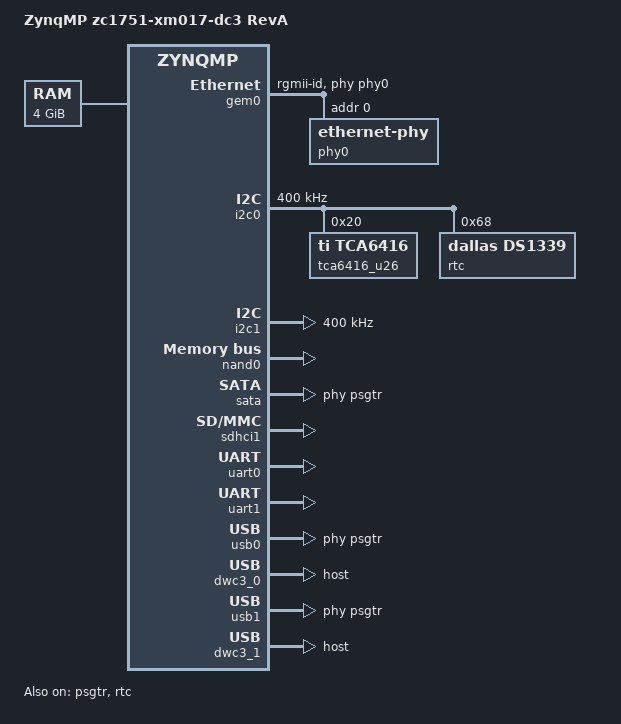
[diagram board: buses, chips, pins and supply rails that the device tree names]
// SPDX-License-Identifier: GPL-2.0+
/*
 * dts file for Xilinx ZynqMP zc1751-xm017-dc3
 *
 * (C) Copyright 2016 - 2021, Xilinx, Inc.
 *
 * Michal Simek <michal.simek@xilinx.com>
 */

/dts-v1/;

#include "zynqmp.dtsi"
#include "zynqmp-clk-ccf.dtsi"
#include <dt-bindings/phy/phy.h>

/ {
	model = "ZynqMP zc1751-xm017-dc3 RevA";
	compatible = "xlnx,zynqmp-zc1751", "xlnx,zynqmp";

	aliases {
		ethernet0 = &gem0;
		i2c0 = &i2c0;
		i2c1 = &i2c1;
		mmc0 = &sdhci1;
		rtc0 = &rtc;
		serial0 = &uart0;
		serial1 = &uart1;
		usb0 = &usb0;
		usb1 = &usb1;
	};

	chosen {
		bootargs = "earlycon";
		stdout-path = "serial0:115200n8";
	};

	memory@0 {
		device_type = "memory";
		reg = <0x0 0x0 0x0 0x80000000>, <0x8 0x00000000 0x0 0x80000000>;
	};

	clock_si5338_2: clk26 {
		compatible = "fixed-clock";
		#clock-cells = <0>;
		clock-frequency = <26000000>;
	};

	clock_si5338_3: clk125 {
		compatible = "fixed-clock";
		#clock-cells = <0>;
		clock-frequency = <125000000>;
	};
};

&fpd_dma_chan1 {
	status = "okay";
};

&fpd_dma_chan2 {
	status = "okay";
};

&fpd_dma_chan3 {
	status = "okay";
};

&fpd_dma_chan4 {
	status = "okay";
};

&fpd_dma_chan5 {
	status = "okay";
};

&fpd_dma_chan6 {
	status = "okay";
};

&fpd_dma_chan7 {
	status = "okay";
};

&fpd_dma_chan8 {
	status = "okay";
};

&gem0 {
	status = "okay";
	phy-handle = <&phy0>;
	phy-mode = "rgmii-id";
	phy0: ethernet-phy@0 { /* VSC8211 */
		reg = <0>;
	};
};

&gpio {
	status = "okay";
};

/* just eeprom here */
&i2c0 {
	status = "okay";
	clock-frequency = <400000>;

	tca6416_u26: gpio@20 {
		compatible = "ti,tca6416";
		reg = <0x20>;
		gpio-controller;
		#gpio-cells = <2>;
		/* IRQ not connected */
	};

	rtc@68 {
		compatible = "dallas,ds1339";
		reg = <0x68>;
	};
};

/* eeprom24c02 and SE98A temp chip pca9306 */
&i2c1 {
	status = "okay";
	clock-frequency = <400000>;
};

/* MT29F64G08AECDBJ4-6 */
&nand0 {
	status = "okay";
	arasan,has-mdma;
	num-cs = <2>;
};

&psgtr {
	status = "okay";
	/* usb3, sata */
	clocks = <&clock_si5338_2>, <&clock_si5338_3>;
	clock-names = "ref2", "ref3";
};

&rtc {
	status = "okay";
};

&sata {
	status = "okay";
	/* SATA phy OOB timing settings */
	ceva,p0-cominit-params = /bits/ 8 <0x1B 0x4D 0x18 0x28>;
	ceva,p0-comwake-params = /bits/ 8 <0x06 0x19 0x08 0x0E>;
	ceva,p0-burst-params = /bits/ 8 <0x13 0x08 0x4A 0x06>;
	ceva,p0-retry-params = /bits/ 16 <0x96A4 0x3FFC>;
	ceva,p1-cominit-params = /bits/ 8 <0x1B 0x4D 0x18 0x28>;
	ceva,p1-comwake-params = /bits/ 8 <0x06 0x19 0x08 0x0E>;
	ceva,p1-burst-params = /bits/ 8 <0x13 0x08 0x4A 0x06>;
	ceva,p1-retry-params = /bits/ 16 <0x96A4 0x3FFC>;
	phy-names = "sata-phy";
	phys = <&psgtr 2 PHY_TYPE_SATA 0 3>;
};

&sdhci1 { /* emmc with some settings */
	status = "okay";
};

/* main */
&uart0 {
	status = "okay";
};

/* DB9 */
&uart1 {
	status = "okay";
};

&usb0 {
	status = "okay";
	phy-names = "usb3-phy";
	phys = <&psgtr 0 PHY_TYPE_USB3 0 2>;
};

&dwc3_0 {
	status = "okay";
	dr_mode = "host";
	snps,usb3_lpm_capable;
	maximum-speed = "super-speed";
};

/* ULPI SMSC USB3320 */
&usb1 {
	status = "okay";
	phy-names = "usb3-phy";
	phys = <&psgtr 3 PHY_TYPE_USB3 1 2>;
};

&dwc3_1 {
	status = "okay";
	dr_mode = "host";
	snps,usb3_lpm_capable;
	maximum-speed = "super-speed";
};
